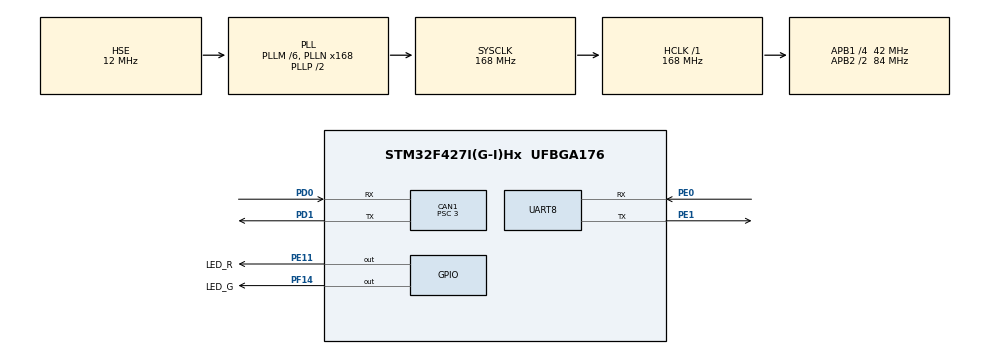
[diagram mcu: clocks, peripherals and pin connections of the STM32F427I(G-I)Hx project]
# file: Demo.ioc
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CAN1.BS1=CAN_BS1_9TQ
CAN1.BS2=CAN_BS2_4TQ
CAN1.CalculateBaudRate=1000000
CAN1.CalculateTimeBit=1000
CAN1.CalculateTimeQuantum=71.42857142857143
CAN1.Prescaler=3
Dma.Request0=UART8_RX
Dma.Request1=UART8_TX
Dma.UART8_RX.0.Direction=DMA_PERIPH_TO_MEMORY
Dma.UART8_RX.0.FIFOMode=DMA_FIFOMODE_DISABLE
Dma.UART8_RX.0.Instance=DMA1_Stream6
Dma.UART8_RX.0.MemDataAlignment=DMA_MDATAALIGN_BYTE
Dma.UART8_RX.0.MemInc=DMA_MINC_ENABLE
Dma.UART8_RX.0.Mode=DMA_NORMAL
Dma.UART8_RX.0.PeriphDataAlignment=DMA_PDATAALIGN_BYTE
Dma.UART8_RX.0.PeriphInc=DMA_PINC_DISABLE
Dma.UART8_RX.0.Priority=DMA_PRIORITY_LOW
Dma.UART8_TX.1.Direction=DMA_MEMORY_TO_PERIPH
Dma.UART8_TX.1.FIFOMode=DMA_FIFOMODE_DISABLE
Dma.UART8_TX.1.Instance=DMA1_Stream0
Dma.UART8_TX.1.MemDataAlignment=DMA_MDATAALIGN_BYTE
Dma.UART8_TX.1.MemInc=DMA_MINC_ENABLE
Dma.UART8_TX.1.Mode=DMA_NORMAL
Dma.UART8_TX.1.PeriphDataAlignment=DMA_PDATAALIGN_BYTE
Dma.UART8_TX.1.PeriphInc=DMA_PINC_DISABLE
Dma.UART8_TX.1.Priority=DMA_PRIORITY_LOW
FREERTOS.Tasks01=defaultTask,24,128,StartDefaultTask,Default,NULL,Dynamic,NULL,NULL;LED,8,128,LED_Task,Default,NULL,Dynamic,NULL,NULL
FREERTOS.Timers01=myTimer,myTimer_Callback,osTimerPeriodic,Default,NULL,Dynamic,NULL
Mcu.Family=STM32F4
Mcu.Name=STM32F427I(G-I)Hx
Mcu.Package=UFBGA176
NVIC.CAN1_RX0_IRQn=true\:5\:0\:false\:false\:true\:true\:true\:true\:true
NVIC.DMA1_Stream0_IRQn=true\:5\:0\:false\:false\:true\:true\:false\:true\:true
NVIC.DMA1_Stream6_IRQn=true\:5\:0\:false\:false\:true\:true\:false\:true\:true
NVIC.PriorityGroup=NVIC_PRIORITYGROUP_4
NVIC.TIM1_UP_TIM10_IRQn=true\:15\:0\:false\:false\:true\:false\:false\:true\:true
NVIC.TimeBase=TIM1_UP_TIM10_IRQn
NVIC.TimeBaseIP=TIM1
NVIC.UART8_IRQn=true\:5\:0\:false\:false\:true\:true\:true\:true\:true
PD0.Mode=CAN_Activate
PD0.Signal=CAN1_RX
PD1.Mode=CAN_Activate
PD1.Signal=CAN1_TX
PE0.Mode=Asynchronous
PE0.Signal=UART8_RX
PE1.Mode=Asynchronous
PE1.Signal=UART8_TX
PE11.GPIO_Label=LED_R
PE11.Signal=GPIO_Output
PF14.GPIO_Label=LED_G
PF14.Signal=GPIO_Output
PH0/OSC_IN.Mode=HSE-External-Oscillator
PH0/OSC_IN.Signal=RCC_OSC_IN
PH1/OSC_OUT.Mode=HSE-External-Oscillator
PH1/OSC_OUT.Signal=RCC_OSC_OUT
ProjectManager.HeapSize=0x200
ProjectManager.StackSize=0x400
ProjectManager.TargetToolchain=STM32CubeIDE
RCC.48MHZClocksFreq_Value=84000000
RCC.AHBFreq_Value=168000000
RCC.APB1CLKDivider=RCC_HCLK_DIV4
RCC.APB1Freq_Value=42000000
RCC.APB1TimFreq_Value=84000000
RCC.APB2CLKDivider=RCC_HCLK_DIV2
RCC.APB2Freq_Value=84000000
RCC.APB2TimFreq_Value=168000000
RCC.CortexFreq_Value=168000000
RCC.HCLKFreq_Value=168000000
RCC.HSE_VALUE=12000000
RCC.HSI_VALUE=16000000
RCC.LSE_VALUE=32768
RCC.PLLM=6
RCC.PLLN=168
RCC.PLLSourceVirtual=RCC_PLLSOURCE_HSE
RCC.SYSCLKFreq_VALUE=168000000
RCC.SYSCLKSource=RCC_SYSCLKSOURCE_PLLCLK
RCC.VCOOutputFreq_Value=336000000
UART8.VirtualMode=Asynchronous
VP_FREERTOS_VS_CMSIS_V2.Mode=CMSIS_V2
VP_SYS_VS_tim1.Mode=TIM1
board=custom

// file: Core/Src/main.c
/* USER CODE BEGIN Header */
/**
  ******************************************************************************
  * @file           : main.c
  * @brief          : Main program body
  ******************************************************************************
  * @attention
  *
  * Copyright (c) 2022 STMicroelectronics.
  * All rights reserved.
  *
  * This software is licensed under terms that can be found in the LICENSE file
  * in the root directory of this software component.
  * If no LICENSE file comes with this software, it is provided AS-IS.
  *
  ******************************************************************************
  */
/* USER CODE END Header */
#include "main.h"
#include "cmsis_os.h"
#include "can.h"
#include "dma.h"
#include "usart.h"
#include "gpio.h"

/* USER CODE BEGIN Includes */
#include <stdio.h>
#include "motor.h"
/* USER CODE END Includes */

void SystemClock_Config(void);
void MX_FREERTOS_Init(void);

int main(void)
{

    /* MCU Configuration--------------------------------------------------------*/

    /* Reset of all peripherals, Initializes the Flash interface and the Systick. */
    HAL_Init();

    /* Configure the system clock */
    SystemClock_Config();

    /* Initialize all configured peripherals */
    MX_GPIO_Init();
    MX_DMA_Init();
    MX_UART8_Init();
    MX_CAN1_Init();
    /* USER CODE BEGIN 2 */
    CAN_DriverInit();
    MOTORC_InfoInit();
    /* USER CODE END 2 */

    /* Init scheduler */
    osKernelInitialize();  /* Call init function for freertos objects (in freertos.c) */
    MX_FREERTOS_Init();

    /* Start scheduler */
    osKernelStart();

    /* We should never get here as control is now taken by the scheduler */
    /* Infinite loop */
    while (1)
    {

    }
}

void SystemClock_Config(void)
{
    RCC_OscInitTypeDef RCC_OscInitStruct = {0};
    RCC_ClkInitTypeDef RCC_ClkInitStruct = {0};

    /** Configure the main internal regulator output voltage
    */
    __HAL_RCC_PWR_CLK_ENABLE();
    __HAL_PWR_VOLTAGESCALING_CONFIG(PWR_REGULATOR_VOLTAGE_SCALE1);

    /** Initializes the RCC Oscillators according to the specified parameters
    * in the RCC_OscInitTypeDef structure.
    */
    RCC_OscInitStruct.OscillatorType = RCC_OSCILLATORTYPE_HSE;
    RCC_OscInitStruct.HSEState = RCC_HSE_ON;
    RCC_OscInitStruct.PLL.PLLState = RCC_PLL_ON;
    RCC_OscInitStruct.PLL.PLLSource = RCC_PLLSOURCE_HSE;
    RCC_OscInitStruct.PLL.PLLM = 6;
    RCC_OscInitStruct.PLL.PLLN = 168;
    RCC_OscInitStruct.PLL.PLLP = RCC_PLLP_DIV2;
    RCC_OscInitStruct.PLL.PLLQ = 4;
    if (HAL_RCC_OscConfig(&RCC_OscInitStruct) != HAL_OK)
    {
        Error_Handler();
    }

    /** Initializes the CPU, AHB and APB buses clocks
    */
    RCC_ClkInitStruct.ClockType = RCC_CLOCKTYPE_HCLK|RCC_CLOCKTYPE_SYSCLK
                                  |RCC_CLOCKTYPE_PCLK1|RCC_CLOCKTYPE_PCLK2;
    RCC_ClkInitStruct.SYSCLKSource = RCC_SYSCLKSOURCE_PLLCLK;
    RCC_ClkInitStruct.AHBCLKDivider = RCC_SYSCLK_DIV1;
    RCC_ClkInitStruct.APB1CLKDivider = RCC_HCLK_DIV4;
    RCC_ClkInitStruct.APB2CLKDivider = RCC_HCLK_DIV2;

    if (HAL_RCC_ClockConfig(&RCC_ClkInitStruct, FLASH_LATENCY_5) != HAL_OK)
    {
        Error_Handler();
    }
}

void HAL_TIM_PeriodElapsedCallback(TIM_HandleTypeDef *htim)
{
    if (htim->Instance == TIM1) {
        HAL_IncTick();
    }
}

void Error_Handler(void)
{
    __disable_irq();
    while (1)
    {
    }
}

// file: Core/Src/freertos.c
/* USER CODE BEGIN Header */
/**
  ******************************************************************************
  * File Name          : freertos.c
  * Description        : Code for freertos applications
  ******************************************************************************
  * @attention
  *
  * Copyright (c) 2022 STMicroelectronics.
  * All rights reserved.
  *
  * This software is licensed under terms that can be found in the LICENSE file
  * in the root directory of this software component.
  * If no LICENSE file comes with this software, it is provided AS-IS.
  *
  ******************************************************************************
  */
/* USER CODE END Header */

#include "FreeRTOS.h"
#include "task.h"
#include "main.h"
#include "cmsis_os.h"

/* USER CODE BEGIN Includes */
#include "usart.h"
#include <stdio.h>
#include "string.h"
#include "motor.h"
/* USER CODE END Includes */

/* Definitions for defaultTask */
osThreadId_t defaultTaskHandle;
const osThreadAttr_t defaultTask_attributes = {
        .name = "defaultTask",
        .stack_size = 128 * 4,
        .priority = (osPriority_t) osPriorityNormal,
};
/* Definitions for LED */
osThreadId_t LEDHandle;
const osThreadAttr_t LED_attributes = {
        .name = "LED",
        .stack_size = 128 * 4,
        .priority = (osPriority_t) osPriorityLow,
};
/* Definitions for myTimer */
osTimerId_t myTimerHandle;
const osTimerAttr_t myTimer_attributes = {
        .name = "myTimer"
};

void StartDefaultTask(void *argument);
void LED_Task(void *argument);
void myTimer_Callback(void *argument);

void MX_FREERTOS_Init(void); /* (MISRA C 2004 rule 8.1) */

void MX_FREERTOS_Init(void) {

    /* Create the timer(s) */
    /* creation of myTimer */
    myTimerHandle = osTimerNew(myTimer_Callback, osTimerPeriodic, NULL, &myTimer_attributes);

    /* Create the thread(s) */
    /* creation of defaultTask */
    defaultTaskHandle = osThreadNew(StartDefaultTask, NULL, &defaultTask_attributes);

    /* creation of LED */
    LEDHandle = osThreadNew(LED_Task, NULL, &LED_attributes);

}

void StartDefaultTask(void *argument)
{
    /* USER CODE BEGIN StartDefaultTask */
    osTimerStart(myTimerHandle, 1);
    /* Infinite loop */
    for (;;) {

        osDelay(1);
    }
    /* USER CODE END StartDefaultTask */
}

void LED_Task(void *argument)
{
    /* USER CODE BEGIN LED_Task */

    /* Infinite loop */
    for (;;) {
        if (recv_end_flag == 1) //接收完成标志
        {
            float value;
            value = VofaModifyValue(rx_buffer, rx_len);
            //printf("%.2f\r\n", value);

            //HAL_UART_Transmit_DMA(&huart8, rx_buffer, rx_len);
            rx_len = 0;        //清除计数
            recv_end_flag = 0; //清除接收结束标志位
            memset(rx_buffer, 0, rx_len);
            HAL_UART_Receive_DMA(&huart8, rx_buffer, BUFFER_SIZE); //重新打开DMA接收
        }
        osDelay(1);
//      HAL_GPIO_TogglePin(LED_R_GPIO_Port, LED_R_Pin);
//      osDelay(200);
        //printf("usart ok\r\n");
    }
    /* USER CODE END LED_Task */
}

/* myTimer_Callback function */
void myTimer_Callback(void *argument)
{
    /* USER CODE BEGIN myTimer_Callback */

    static uint32_t run_times;

    if (run_times % 50 == 0)
    {
        //MOTORC_SetVel(50);
//			MOTORC_SetVelWithRamp(50);
//            MOTORC_SetAngle(360);
    }
    if (run_times == 500)
    {
        HAL_GPIO_TogglePin(LED_G_GPIO_Port, LED_G_Pin);
        run_times = 0;
    }
    MOTORC_InfoUpdateLoop();//1ms更新一次
    if (run_times % 10 == 0) {
        MOTORC_Test();
    }

    ++run_times;

    /* USER CODE END myTimer_Callback */
}
